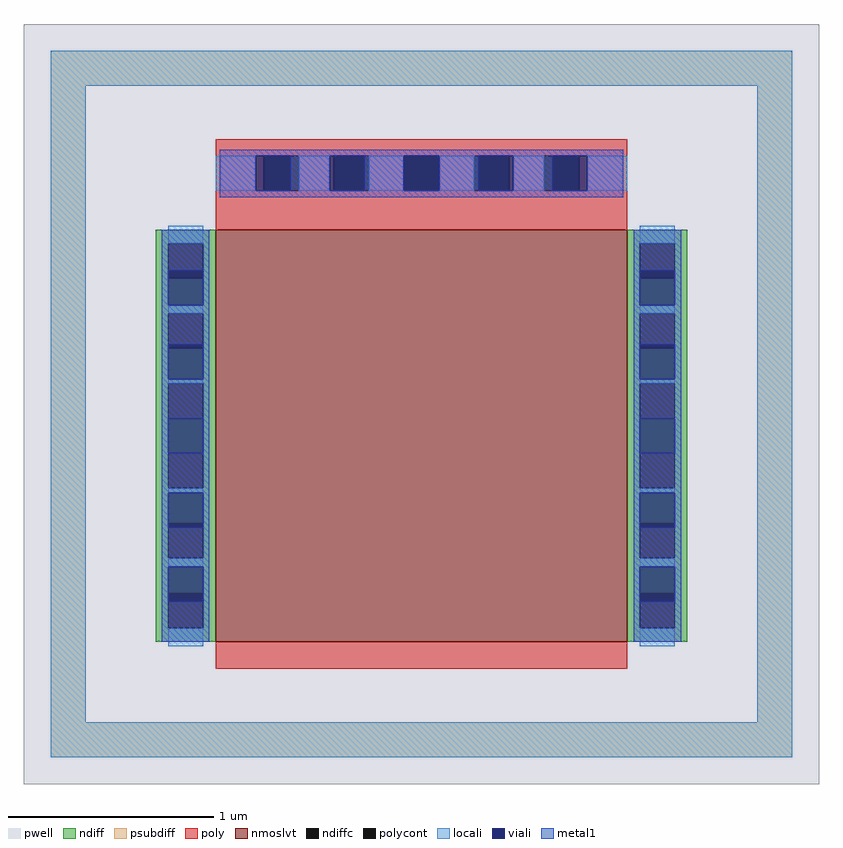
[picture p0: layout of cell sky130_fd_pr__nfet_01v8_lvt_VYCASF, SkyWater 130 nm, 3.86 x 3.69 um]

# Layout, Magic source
magic
tech sky130A
magscale 1 2
<< pwell >>
rect -386 -369 386 369
<< nmoslvt >>
rect -200 -231 200 169
<< ndiff >>
rect -258 156 -200 169
rect -258 122 -246 156
rect -212 122 -200 156
rect -258 88 -200 122
rect -258 54 -246 88
rect -212 54 -200 88
rect -258 20 -200 54
rect -258 -14 -246 20
rect -212 -14 -200 20
rect -258 -48 -200 -14
rect -258 -82 -246 -48
rect -212 -82 -200 -48
rect -258 -116 -200 -82
rect -258 -150 -246 -116
rect -212 -150 -200 -116
rect -258 -184 -200 -150
rect -258 -218 -246 -184
rect -212 -218 -200 -184
rect -258 -231 -200 -218
rect 200 156 258 169
rect 200 122 212 156
rect 246 122 258 156
rect 200 88 258 122
rect 200 54 212 88
rect 246 54 258 88
rect 200 20 258 54
rect 200 -14 212 20
rect 246 -14 258 20
rect 200 -48 258 -14
rect 200 -82 212 -48
rect 246 -82 258 -48
rect 200 -116 258 -82
rect 200 -150 212 -116
rect 246 -150 258 -116
rect 200 -184 258 -150
rect 200 -218 212 -184
rect 246 -218 258 -184
rect 200 -231 258 -218
<< ndiffc >>
rect -246 122 -212 156
rect -246 54 -212 88
rect -246 -14 -212 20
rect -246 -82 -212 -48
rect -246 -150 -212 -116
rect -246 -218 -212 -184
rect 212 122 246 156
rect 212 54 246 88
rect 212 -14 246 20
rect 212 -82 246 -48
rect 212 -150 246 -116
rect 212 -218 246 -184
<< psubdiff >>
rect -360 309 360 343
rect -360 -309 -326 309
rect 326 -309 360 309
rect -360 -343 360 -309
<< poly >>
rect -200 241 200 257
rect -200 207 -153 241
rect -119 207 -85 241
rect -51 207 -17 241
rect 17 207 51 241
rect 85 207 119 241
rect 153 207 200 241
rect -200 169 200 207
rect -200 -257 200 -231
<< polycont >>
rect -153 207 -119 241
rect -85 207 -51 241
rect -17 207 17 241
rect 51 207 85 241
rect 119 207 153 241
<< locali >>
rect -360 309 360 343
rect -360 -309 -326 309
rect -200 207 -161 241
rect -119 207 -89 241
rect -51 207 -17 241
rect 17 207 51 241
rect 89 207 119 241
rect 161 207 200 241
rect -246 156 -212 173
rect -246 88 -212 96
rect -246 20 -212 24
rect -246 -86 -212 -82
rect -246 -158 -212 -150
rect -246 -235 -212 -218
rect 212 156 246 173
rect 212 88 246 96
rect 212 20 246 24
rect 212 -86 246 -82
rect 212 -158 246 -150
rect 212 -235 246 -218
rect 326 -309 360 309
rect -360 -343 360 -309
<< viali >>
rect -161 207 -153 241
rect -153 207 -127 241
rect -89 207 -85 241
rect -85 207 -55 241
rect -17 207 17 241
rect 55 207 85 241
rect 85 207 89 241
rect 127 207 153 241
rect 153 207 161 241
rect -246 122 -212 130
rect -246 96 -212 122
rect -246 54 -212 58
rect -246 24 -212 54
rect -246 -48 -212 -14
rect -246 -116 -212 -86
rect -246 -120 -212 -116
rect -246 -184 -212 -158
rect -246 -192 -212 -184
rect 212 122 246 130
rect 212 96 246 122
rect 212 54 246 58
rect 212 24 246 54
rect 212 -48 246 -14
rect 212 -116 246 -86
rect 212 -120 246 -116
rect 212 -184 246 -158
rect 212 -192 246 -184
<< metal1 >>
rect -196 241 196 247
rect -196 207 -161 241
rect -127 207 -89 241
rect -55 207 -17 241
rect 17 207 55 241
rect 89 207 127 241
rect 161 207 196 241
rect -196 201 196 207
rect -252 130 -206 169
rect -252 96 -246 130
rect -212 96 -206 130
rect -252 58 -206 96
rect -252 24 -246 58
rect -212 24 -206 58
rect -252 -14 -206 24
rect -252 -48 -246 -14
rect -212 -48 -206 -14
rect -252 -86 -206 -48
rect -252 -120 -246 -86
rect -212 -120 -206 -86
rect -252 -158 -206 -120
rect -252 -192 -246 -158
rect -212 -192 -206 -158
rect -252 -231 -206 -192
rect 206 130 252 169
rect 206 96 212 130
rect 246 96 252 130
rect 206 58 252 96
rect 206 24 212 58
rect 246 24 252 58
rect 206 -14 252 24
rect 206 -48 212 -14
rect 246 -48 252 -14
rect 206 -86 252 -48
rect 206 -120 212 -86
rect 246 -120 252 -86
rect 206 -158 252 -120
rect 206 -192 212 -158
rect 246 -192 252 -158
rect 206 -231 252 -192
<< properties >>
string FIXED_BBOX -343 -326 343 326
<< end >>
